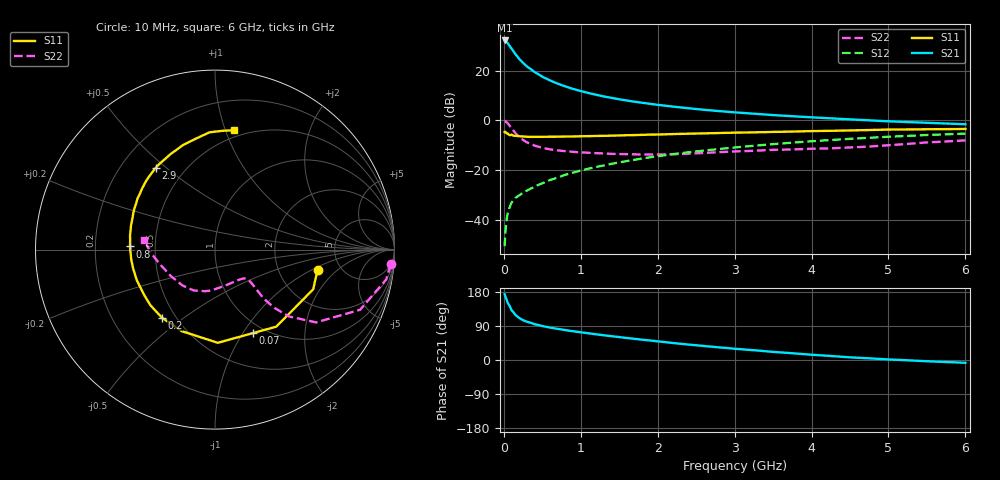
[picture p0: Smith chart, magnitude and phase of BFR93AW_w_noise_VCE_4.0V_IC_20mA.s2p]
! Infineon Technologies  Discrete & RF Semiconductors
! BFR93AW
! VCE =  4.0 V,  IC =  20 mA
! Common Emitter S-Parameters:  Jan 2017
# GHz  S  MA  R  50
!  f  S11  S21  S12  S22
! GHz  MAG  ANG  MAG  ANG  MAG  ANG  MAG  ANG
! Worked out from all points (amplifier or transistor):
!   77 points, 10 MHz to 6 GHz, reference 50 ohm
!   highest |S21| = 32.1 dB at 10 MHz (marker M1)
!   |S21| within 3 dB of that: start of sweep to 93.69 MHz
!   unconditionally stable (mu >= 1): 652.8 MHz to 2.057 GHz
!   at 130 MHz: K = 0.45, MSG = 29.7 dB, |S12| = -31.8 dB
!   at 2.2 GHz: K = 0.99, MSG = 9.5 dB, |S12| = -13.6 dB
!   at 6 GHz: K = 0.88, MSG = 1.9 dB, |S12| = -5.3 dB
!   lowest NFmin = 1.52 dB at 450 MHz
!   S11 on the Smith chart (normalised r, x): 10 MHz: 3.37, -1.14; 70 MHz: 0.88, -1.11; 200 MHz: 0.42, -0.42; 800 MHz: 0.36, +0.02; 2.9 GHz: 0.35, +0.46; 6 GHz: 0.44, +1.07
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0.01  0.5825 -11.1  40.04 173.5  0.003 80.7  0.9826 -4.8
0.02  0.5902 -22.0  39.97 167.6  0.0057 84.6  0.9684 -9.9
0.05  0.5485 -51.5  35.58 151.0  0.0138 71.2  0.8754 -22.5
0.07  0.5109 -65.6  31.93 144.3  0.0171 66.6  0.798 -27.1
0.1  0.5196 -88.3  27.54 131.3  0.0223 62.4  0.694 -35.8
0.15  0.4906 -112.4  21.37 119.0  0.0279 57.1  0.5555 -42.1
0.2  0.4807 -128.0  17.12 111.0  0.0313 56.5  0.4655 -44.4
0.25  0.4751 -139.2  14.21 105.0  0.0355 56.7  0.4054 -45.0
0.3  0.4688 -147.3  12.05 100.9  0.039 57.7  0.362 -44.8
0.4  0.4679 -158.5  9.292 94.4  0.0469 61.6  0.3111 -43.6
0.5  0.468 -166.6  7.511 89.6  0.0547 63.2  0.2814 -42.7
0.6  0.4699 -173.0  6.325 85.6  0.0636 65.0  0.2623 -42.2
0.7  0.4706 -177.7  5.448 82.2  0.0713 66.5  0.25 -42.2
0.8  0.474 177.9  4.795 78.9  0.0812 67.2  0.241 -42.7
1.1  0.4827 166.9  3.538 70.5  0.1075 68.1  0.2241 -46.3
1.5  0.4984 156.0  2.646 60.5  0.1435 67.2  0.2109 -55.1
2.1  0.5252 141.8  1.966 47.1  0.2005 63.6  0.2081 -74.2
2.9  0.5621 126.0  1.49 31.6  0.2763 57.0  0.2342 -100.5
3.1  0.57 122.3  1.412 28.2  0.2952 55.1  0.2409 -106.4
4.1  0.6123 105.4  1.13 12.6  0.39 45.0  0.2712 -135.7
5.1  0.6553 91.4  0.944 0.6  0.4766 33.7  0.3247 -167.9
6  0.6732 81.0  0.836 -7.4  0.5425 23.5  0.3968 172.3
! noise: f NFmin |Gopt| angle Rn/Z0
0.45  1.52  0.14  161  0.15
0.9  1.8  0.23  175  0.15
1.9  2.8  0.48  -138  0.23
2.4  3.43  0.54  -126  0.45
